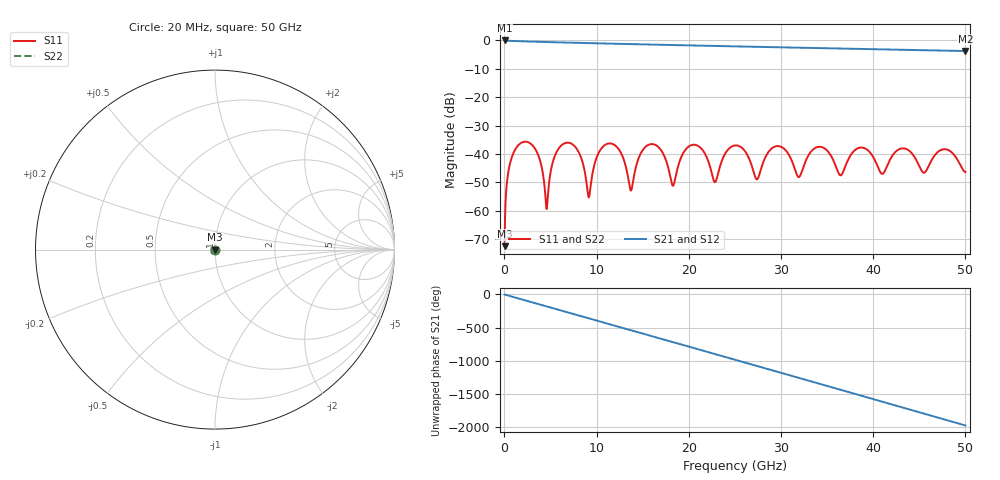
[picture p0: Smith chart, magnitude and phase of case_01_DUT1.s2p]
# HZ S RI R 50
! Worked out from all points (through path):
!   2500 points, 20 MHz to 50 GHz, reference 50 ohm
!   highest |S21| = -0.02 dB at 20 MHz (marker M1); lowest = -3.7 dB at 50 GHz (marker M2)
!   group delay of S21, straight-line fit = 110 ps
!   lowest |S11| = -72.4 dB at 20 MHz (marker M3), VSWR 1.00, Z = 50 - j0.0234 ohm
!   |S11| at or under -10 dB: start of sweep to end of sweep
!   |S22| runs from -72.4 to -35.6 dB; largest |S21 - S12| = 0
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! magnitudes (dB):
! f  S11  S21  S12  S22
! 20 MHz  -72.4  0.0  0.0  -72.4
! 520 MHz  -44.6  -0.1  -0.1  -44.6
! 1.64 GHz  -36.5  -0.3  -0.3  -36.5
! 3.46 GHz  -38.9  -0.5  -0.5  -38.9
! 4.58 GHz  -59.3  -0.6  -0.6  -59.3
! 6.08 GHz  -37.2  -0.7  -0.7  -37.2
! 8.36 GHz  -41.7  -0.9  -0.9  -41.7
! 9.16 GHz  -55.2  -1.0  -1.0  -55.2
! 11.86 GHz  -36.6  -1.2  -1.2  -36.6
! 13.72 GHz  -52.9  -1.3  -1.3  -52.9
! 16.68 GHz  -37.5  -1.5  -1.5  -37.5
! 18.28 GHz  -51.2  -1.6  -1.6  -51.2
! 20.08 GHz  -37.2  -1.8  -1.8  -37.2
! 22.84 GHz  -49.9  -2.0  -2.0  -49.9
! 25.02 GHz  -37.0  -2.1  -2.1  -37.0
! 27.38 GHz  -48.9  -2.3  -2.3  -48.9
! 29.24 GHz  -37.5  -2.4  -2.4  -37.5
! 31.92 GHz  -48.1  -2.6  -2.6  -48.1
! 33.34 GHz  -38.8  -2.7  -2.7  -38.8
! 41.68 GHz  -42.9  -3.2  -3.2  -42.9
! 47.84 GHz  -38.3  -3.6  -3.6  -38.3
! 50 GHz  -46.3  -3.7  -3.7  -46.3
